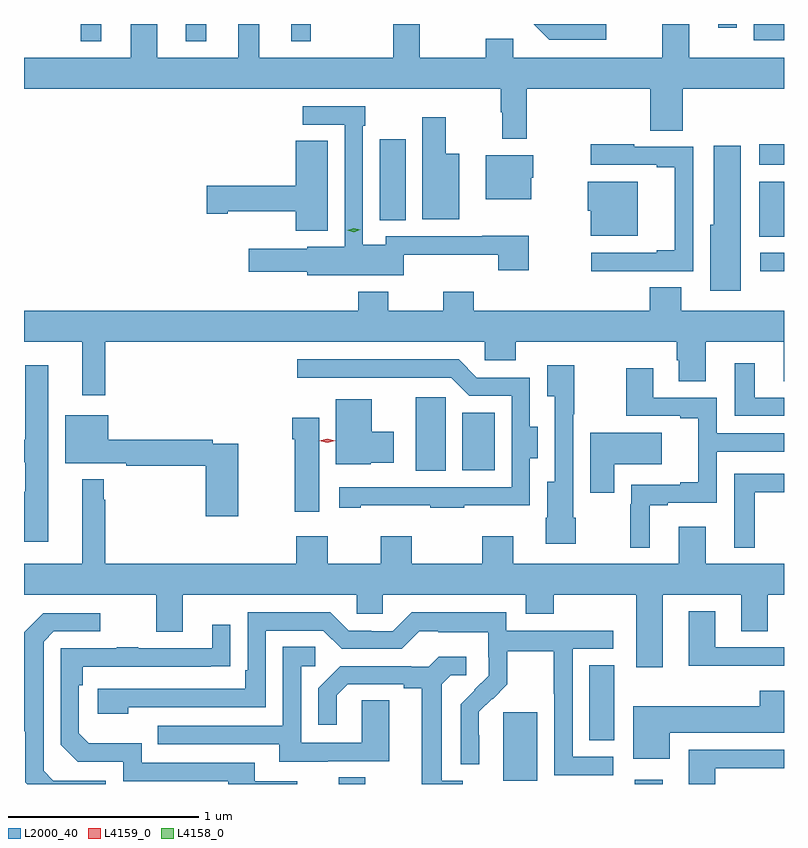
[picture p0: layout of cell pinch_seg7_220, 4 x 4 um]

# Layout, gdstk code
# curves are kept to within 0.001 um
import gdstk
lib = gdstk.Library(unit=1e-6, precision=1e-09)
def R(c, l, rs):  # rectangles x0, y0, x1, y1
    for r in rs: c.add(gdstk.rectangle(r[:2], r[2:], *l))
def P(c, l, *ps):  # polygons
    for p in ps: c.add(gdstk.Polygon(p, *l))
L2000_40 = (2000, 40)
L4158_0 = (4158, 0)
L4159_0 = (4159, 0)

pinch_seg7_220 = lib.new_cell('pinch_seg7_220')
R(pinch_seg7_220, L2000_40, [(791.627,1027.593,791.767,1027.628), (793.186,1027.593,793.333,1027.615), (792.494,1027.61,792.673,1027.971), (792.947,1027.822,793.078,1028.219), (792.032,1029.241,792.19,1029.628), (792.278,1029.245,792.448,1029.547), (793.845,1030.292,793.971,1030.389), (793.841,1030.474,793.971,1030.762), (791.843,1030.561,791.98,1030.987), (793.842,1030.851,793.971,1030.96), (790.269,1031.501,790.378,1031.593), (790.823,1031.501,790.93,1031.593), (791.378,1031.501,791.479,1031.593), (793.812,1031.508,793.971,1031.593), (793.625,1031.574,793.721,1031.593)])
P(pinch_seg7_220, L2000_40, [(793.036,1031.593),(792.654,1031.593),(792.735,1031.511),(793.036,1031.511)],
  [(792.481,1031.129),(792.489,1031.129),(792.489,1030.989),(792.617,1030.989),(792.617,1031.252),(793.268,1031.252),(793.268,1031.032),(793.439,1031.032),(793.439,1031.252),(793.971,1031.252),(793.971,1031.416),(793.471,1031.416),(793.471,1031.593),(793.331,1031.593),(793.331,1031.416),(792.547,1031.416),(792.547,1031.515),(792.4,1031.515),(792.4,1031.416),(792.055,1031.416),(792.055,1031.593),(791.915,1031.593),(791.915,1031.416),(791.209,1031.416),(791.209,1031.593),(791.099,1031.593),(791.099,1031.416),(790.672,1031.416),(790.672,1031.593),(790.532,1031.593),(790.532,1031.416),(789.971,1031.416),(789.971,1031.252),(792.481,1031.252)],
  [(791.97,1030.379),(792.467,1030.379),(792.467,1030.296),(792.627,1030.296),(792.627,1030.478),(792.383,1030.478),(792.383,1030.476),(791.874,1030.476),(791.874,1030.432),(791.754,1030.432),(791.754,1031.057),(791.767,1031.057),(791.767,1031.16),(791.439,1031.16),(791.439,1031.064),(791.658,1031.064),(791.658,1030.42),(791.463,1030.42),(791.463,1030.411),(791.154,1030.411),(791.154,1030.289),(791.463,1030.289),(791.463,1030.271),(791.97,1030.271)],
  [(792.262,1030.909),(792.19,1030.909),(792.19,1031.103),(792.068,1031.103),(792.068,1030.565),(792.262,1030.565)],
  [(791.569,1030.979),(791.402,1030.979),(791.402,1030.742),(790.932,1030.742),(790.932,1030.595),(791.044,1030.595),(791.044,1030.607),(791.402,1030.607),(791.402,1030.505),(791.569,1030.505)],
  [(793.181,1030.293),(793.494,1030.293),(793.494,1030.947),(793.184,1030.947),(793.184,1030.96),(792.954,1030.96),(792.954,1030.851),(793.301,1030.851),(793.301,1030.839),(793.397,1030.839),(793.397,1030.402),(793.301,1030.402),(793.301,1030.389),(792.957,1030.389),(792.957,1030.292),(793.181,1030.292)],
  [(793.744,1030.951),(793.601,1030.951),(793.601,1030.536),(793.583,1030.536),(793.583,1030.188),(793.744,1030.188)],
  [(792.64,1030.785),(792.652,1030.785),(792.652,1030.903),(792.401,1030.903),(792.401,1030.67),(792.64,1030.67)],
  [(793.201,1030.762),(792.938,1030.762),(792.938,1030.611),(792.953,1030.611),(792.953,1030.478),(793.201,1030.478)],
  [(790.399,1029.92),(792.396,1029.92),(792.396,1029.822),(792.56,1029.822),(792.56,1029.92),(793.406,1029.92),(793.406,1029.822),(793.418,1029.822),(793.418,1029.712),(793.558,1029.712),(793.558,1029.92),(793.97,1029.92),(793.97,1029.712),(793.971,1029.712),(793.971,1030.084),(793.429,1030.084),(793.429,1030.208),(793.265,1030.208),(793.265,1030.084),(792.338,1030.084),(792.338,1030.183),(792.178,1030.183),(792.178,1030.084),(791.889,1030.084),(791.889,1030.183),(791.729,1030.183),(791.729,1030.084),(789.971,1030.084),(789.971,1029.92),(790.277,1029.92),(790.277,1029.639),(790.399,1029.639)],
  [(791.743,1029.059),(792.109,1029.059),(792.109,1029.048),(792.287,1029.048),(792.287,1029.059),(792.633,1029.059),(792.633,1029.308),(792.676,1029.308),(792.676,1029.472),(792.634,1029.472),(792.634,1029.732),(792.354,1029.732),(792.258,1029.828),(791.409,1029.828),(791.409,1029.732),(792.219,1029.732),(792.315,1029.636),(792.537,1029.636),(792.537,1029.156),(791.631,1029.156),(791.631,1029.048),(791.743,1029.048)],
  [(793.971,1029.627),(793.816,1029.627),(793.816,1029.808),(793.712,1029.808),(793.712,1029.531),(793.971,1029.531)],
  [(792.874,1028.994),(792.861,1028.994),(792.861,1029.539),(792.866,1029.539),(792.866,1029.796),(792.725,1029.796),(792.725,1029.635),(792.765,1029.635),(792.765,1029.184),(792.725,1029.184),(792.725,1028.994),(792.716,1028.994),(792.716,1028.858),(792.874,1028.858)],
  [(790.099,1029.796),(789.978,1029.796),(789.978,1029.404),(789.971,1029.404),(789.971,1029.287),(789.978,1029.287),(789.978,1029.13),(789.971,1029.13),(789.971,1028.867),(790.099,1028.867)],
  [(793.264,1029.06),(793.36,1029.06),(793.36,1029.072),(793.617,1029.072),(793.617,1029.342),(793.971,1029.342),(793.971,1029.438),(793.617,1029.438),(793.617,1029.627),(793.282,1029.627),(793.282,1029.781),(793.142,1029.781),(793.142,1029.531),(793.424,1029.531),(793.424,1029.519),(793.52,1029.519),(793.52,1029.18),(793.424,1029.18),(793.424,1029.168),(793.167,1029.168),(793.167,1029.065),(793.162,1029.065),(793.162,1028.837),(793.264,1028.837)],
  [(791.796,1029.284),(791.917,1029.284),(791.917,1029.448),(791.8,1029.448),(791.8,1029.619),(791.612,1029.619),(791.612,1029.275),(791.796,1029.275)],
  [(791.098,1029.384),(790.964,1029.384),(790.964,1029.404),(790.414,1029.404),(790.414,1029.535),(790.187,1029.535),(790.187,1029.281),(790.51,1029.281),(790.51,1029.268),(790.928,1029.268),(790.928,1029.003),(791.098,1029.003)],
  [(791.524,1029.52),(791.384,1029.52),(791.384,1029.407),(791.396,1029.407),(791.396,1029.027),(791.524,1029.027)],
  [(793.078,1029.275),(793.327,1029.275),(793.327,1029.442),(792.95,1029.442),(792.95,1029.126),(793.078,1029.126)],
  [(793.816,1029.128),(793.971,1029.128),(793.971,1029.225),(793.709,1029.225),(793.709,1028.837),(793.816,1028.837)],
  [(793.333,1028.588),(793.745,1028.588),(793.745,1028.398),(793.885,1028.398),(793.885,1028.588),(793.971,1028.588),(793.971,1028.752),(793.558,1028.752),(793.558,1028.947),(793.418,1028.947),(793.418,1028.752),(792.547,1028.752),(792.547,1028.896),(792.383,1028.896),(792.383,1028.752),(792.013,1028.752),(792.013,1028.896),(791.849,1028.896),(791.849,1028.752),(791.569,1028.752),(791.569,1028.896),(791.405,1028.896),(791.405,1028.752),(790.399,1028.752),(790.399,1029.089),(790.392,1029.089),(790.392,1029.196),(790.277,1029.196),(790.277,1028.752),(789.971,1028.752),(789.971,1028.588),(790.667,1028.588),(790.667,1028.394),(790.807,1028.394),(790.807,1028.588),(791.721,1028.588),(791.721,1028.49),(791.859,1028.49),(791.859,1028.588),(792.611,1028.588),(792.611,1028.489),(792.759,1028.489),(792.759,1028.588),(793.193,1028.588),(793.193,1028.208),(793.333,1028.208)],
  [(793.971,1028.313),(793.609,1028.313),(793.609,1028.503),(793.469,1028.503),(793.469,1028.216),(793.971,1028.216)],
  [(793.072,1027.737),(792.858,1027.737),(792.858,1028.304),(793.072,1028.304),(793.072,1028.4),(792.51,1028.4),(792.51,1028.497),(792.013,1028.497),(791.913,1028.397),(791.798,1028.397),(791.798,1028.4),(791.679,1028.4),(791.583,1028.496),(791.148,1028.496),(791.148,1028.191),(791.135,1028.191),(791.135,1028.094),(790.359,1028.094),(790.359,1027.964),(790.52,1027.964),(790.52,1027.998),(791.244,1027.998),(791.244,1028.4),(791.547,1028.4),(791.643,1028.304),(791.958,1028.304),(792.051,1028.397),(792.151,1028.397),(792.151,1028.393),(792.414,1028.393),(792.414,1028.259),(792.416,1028.259),(792.416,1028.162),(792.27,1028.014),(792.27,1027.696),(792.366,1027.696),(792.365,1027.973),(792.435,1028.043),(792.438,1028.04),(792.515,1028.117),(792.515,1028.292),(792.76,1028.292),(792.76,1028.068),(792.762,1028.068),(792.762,1027.639),(793.072,1027.639)],
  [(790.402,1027.611),(790.125,1027.611),(790.074,1027.662),(790.074,1028.343),(790.128,1028.397),(790.372,1028.397),(790.372,1028.493),(790.071,1028.493),(789.971,1028.392),(789.971,1027.871),(789.978,1027.871),(789.978,1027.602),(789.987,1027.593),(790.402,1027.593)],
  [(791.41,1027.608),(791.185,1027.608),(791.185,1027.704),(790.59,1027.704),(790.59,1027.807),(790.313,1027.807),(790.26,1027.86),(790.26,1028.114),(790.28,1028.114),(790.28,1028.211),(791.057,1028.212),(791.057,1028.43),(790.961,1028.43),(790.961,1028.307),(790.571,1028.307),(790.571,1028.312),(790.459,1028.312),(790.459,1028.307),(790.164,1028.307),(790.164,1027.8),(790.254,1027.71),(790.494,1027.71),(790.494,1027.608),(791.045,1027.608),(791.045,1027.593),(791.41,1027.593)],
  [(791.569,1027.713),(791.893,1027.713),(791.893,1028.033),(791.748,1028.033),(791.748,1027.809),(791.43,1027.809),(791.43,1028.214),(791.503,1028.214),(791.503,1028.315),(791.334,1028.315),(791.334,1027.899),(790.675,1027.899),(790.675,1027.803),(791.315,1027.803),(791.315,1027.709),(791.569,1027.709)],
  [(792.28,1027.611),(792.169,1027.611),(792.169,1028.119),(792.216,1028.166),(792.298,1028.166),(792.298,1028.263),(792.154,1028.263),(792.102,1028.211),(792.008,1028.211),(792.008,1028.214),(791.636,1028.214),(791.52,1028.098),(791.52,1027.905),(791.617,1027.905),(791.617,1028.061),(791.674,1028.118),(791.969,1028.118),(791.969,1028.096),(792.065,1028.096),(792.065,1027.593),(792.28,1027.593)],
  [(793.369,1027.862),(793.971,1027.862),(793.971,1028.083),(793.844,1028.083),(793.844,1028.002),(793.178,1028.002),(793.178,1027.727),(793.369,1027.727)],
  [(793.609,1027.677),(793.971,1027.677),(793.971,1027.773),(793.469,1027.773),(793.469,1027.593),(793.609,1027.593)])
P(pinch_seg7_220, L4158_0, [(791.706,1030.498),(791.672,1030.507),(791.671,1030.507),(791.672,1030.507),(791.706,1030.518),(791.741,1030.509),(791.741,1030.509),(791.741,1030.509)])
P(pinch_seg7_220, L4159_0, [(791.567,1029.39),(791.526,1029.4),(791.526,1029.4),(791.526,1029.4),(791.567,1029.41),(791.608,1029.4),(791.608,1029.4),(791.608,1029.4)])

lib.write_gds('pinch_seg7_220.gds')
